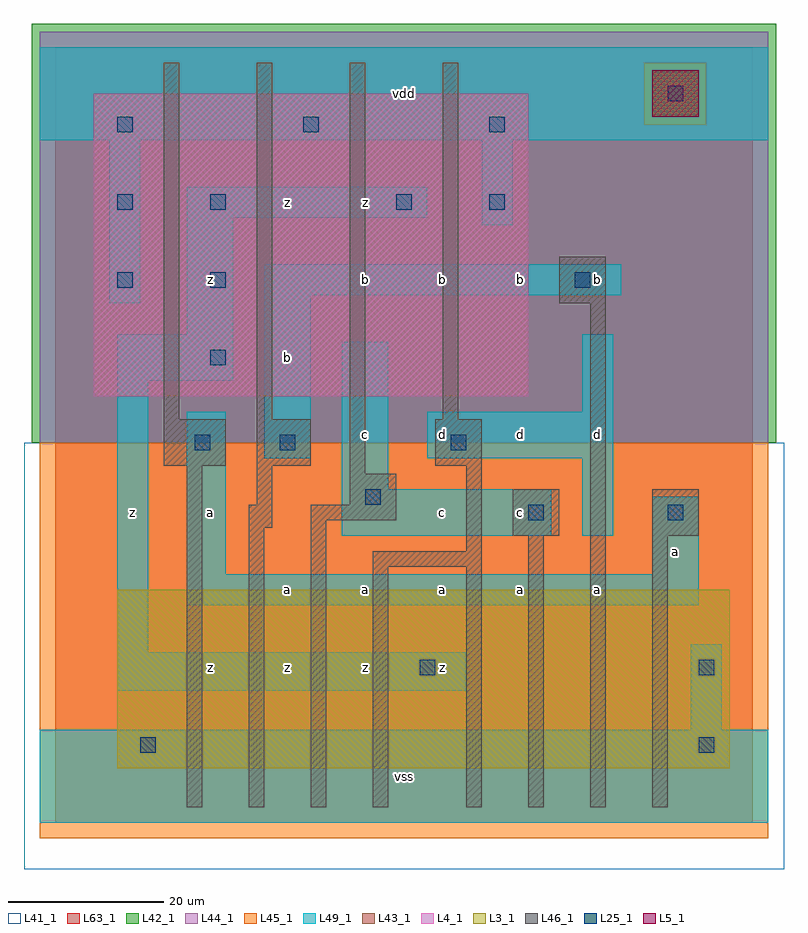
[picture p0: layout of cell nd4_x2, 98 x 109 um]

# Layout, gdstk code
import gdstk
lib = gdstk.Library(unit=1e-6, precision=1e-09)
def R(c, l, rs):  # rectangles x0, y0, x1, y1
    for r in rs: c.add(gdstk.rectangle(r[:2], r[2:], *l))
def A(c, l, x, y, w, h, nx, ny, dx, dy):  # array of equal rectangles
    R(c, l, [(x+i*dx, y+j*dy, x+i*dx+w, y+j*dy+h) for i in range(nx) for j in range(ny)])
L3_1 = (3, 1)
L4_1 = (4, 1)
L5_1 = (5, 1)
L25_1 = (25, 1)
L41_1 = (41, 1)
L42_1 = (42, 1)
L43_1 = (43, 1)
L44_1 = (44, 1)
L45_1 = (45, 1)
L46_1 = (46, 1)
L49_1 = (49, 1)
L63_1 = (63, 1)

nd4_x2 = lib.new_cell('nd4_x2')
R(nd4_x2, L3_1, [(8,7,87,30)])
R(nd4_x2, L4_1, [(5,55,61,94)])
R(nd4_x2, L5_1, [(77,91,83,97)])
A(nd4_x2, L25_1, 20, 59, 2, 2, 1, 3, 0, 10)
A(nd4_x2, L25_1, 8, 89, 2, 2, 3, 1, 24, 0)
R(nd4_x2, L25_1, [(11,9,13,11), (83,9,85,11), (47,19,49,21), (83,19,85,21), (61,39,63,41), (79,39,81,41), (40,41,42,43), (18,48,20,50), (29,48,31,50), (51,48,53,50), (8,69,10,71), (67,69,69,71), (8,79,10,81), (44,79,46,81), (56,79,58,81), (79,93,81,95)])
R(nd4_x2, L41_1, [(-4,-6,94,49), (-3,-3,93,49)])
R(nd4_x2, L42_1, [(-3,49,93,103)])
R(nd4_x2, L43_1, [(8,7,87,30), (5,55,61,94), (77,91,83,97)])
R(nd4_x2, L44_1, [(-2,49,92,90), (-2,90,76,98), (84,90,92,98), (-2,98,92,102)])
R(nd4_x2, L45_1, [(-2,-2,92,49), (76,90,84,98)])
R(nd4_x2, L46_1, [(17,2,19,46), (25,2,27,38), (33,2,35,39), (41,2,43,33), (53,2,55,33), (61,2,63,37), (69,2,71,67), (77,2,79,37), (41,33,55,35), (53,35,55,46), (59,37,65,43), (77,37,83,43), (25,38,28,41), (33,39,44,41), (26,41,28,46), (38,41,44,45), (38,45,40,98), (14,46,22,52), (26,46,33,52), (49,46,55,52), (14,52,16,98), (26,52,28,98), (50,52,52,98), (65,67,71,73)])
R(nd4_x2, L49_1, [(-2,0,92,12), (82,12,86,23), (8,17,53,22), (8,22,12,57), (17,28,83,32), (17,32,22,53), (77,32,83,42), (37,37,64,43), (68,37,72,47), (37,43,43,62), (27,47,33,68), (48,47,72,53), (68,53,72,63), (8,57,23,63), (17,63,23,78), (7,67,11,88), (27,68,73,72), (55,77,59,88), (17,78,48,82), (-2,88,92,100)])
R(nd4_x2, L63_1, [(0,0,90,100)])
nd4_x2.add(gdstk.Label('z', (10,40), layer=49, texttype=1))
nd4_x2.add(gdstk.Label('z', (10,40), layer=49, texttype=1))
nd4_x2.add(gdstk.Label('z', (30,20), layer=49, texttype=1))
nd4_x2.add(gdstk.Label('z', (30,20), layer=49, texttype=1))
nd4_x2.add(gdstk.Label('z', (20,20), layer=49, texttype=1))
nd4_x2.add(gdstk.Label('z', (20,20), layer=49, texttype=1))
nd4_x2.add(gdstk.Label('a', (30,30), layer=49, texttype=1))
nd4_x2.add(gdstk.Label('a', (30,30), layer=49, texttype=1))
nd4_x2.add(gdstk.Label('a', (20,40), layer=49, texttype=1))
nd4_x2.add(gdstk.Label('a', (20,40), layer=49, texttype=1))
nd4_x2.add(gdstk.Label('b', (30,60), layer=49, texttype=1))
nd4_x2.add(gdstk.Label('b', (30,60), layer=49, texttype=1))
nd4_x2.add(gdstk.Label('z', (20,70), layer=49, texttype=1))
nd4_x2.add(gdstk.Label('z', (20,70), layer=49, texttype=1))
nd4_x2.add(gdstk.Label('z', (30,80), layer=49, texttype=1))
nd4_x2.add(gdstk.Label('z', (30,80), layer=49, texttype=1))
nd4_x2.add(gdstk.Label('vss', (45,6), layer=49, texttype=1))
nd4_x2.add(gdstk.Label('vss', (45,6), layer=49, texttype=1))
nd4_x2.add(gdstk.Label('z', (40,20), layer=49, texttype=1))
nd4_x2.add(gdstk.Label('z', (50,20), layer=49, texttype=1))
nd4_x2.add(gdstk.Label('z', (40,20), layer=49, texttype=1))
nd4_x2.add(gdstk.Label('z', (50,20), layer=49, texttype=1))
nd4_x2.add(gdstk.Label('a', (50,30), layer=49, texttype=1))
nd4_x2.add(gdstk.Label('a', (40,30), layer=49, texttype=1))
nd4_x2.add(gdstk.Label('a', (40,30), layer=49, texttype=1))
nd4_x2.add(gdstk.Label('a', (50,30), layer=49, texttype=1))
nd4_x2.add(gdstk.Label('c', (50,40), layer=49, texttype=1))
nd4_x2.add(gdstk.Label('c', (50,40), layer=49, texttype=1))
nd4_x2.add(gdstk.Label('d', (50,50), layer=49, texttype=1))
nd4_x2.add(gdstk.Label('c', (40,50), layer=49, texttype=1))
nd4_x2.add(gdstk.Label('c', (40,50), layer=49, texttype=1))
nd4_x2.add(gdstk.Label('d', (50,50), layer=49, texttype=1))
nd4_x2.add(gdstk.Label('b', (50,70), layer=49, texttype=1))
nd4_x2.add(gdstk.Label('b', (40,70), layer=49, texttype=1))
nd4_x2.add(gdstk.Label('b', (50,70), layer=49, texttype=1))
nd4_x2.add(gdstk.Label('b', (40,70), layer=49, texttype=1))
nd4_x2.add(gdstk.Label('z', (40,80), layer=49, texttype=1))
nd4_x2.add(gdstk.Label('z', (40,80), layer=49, texttype=1))
nd4_x2.add(gdstk.Label('vdd', (45,94), layer=49, texttype=1))
nd4_x2.add(gdstk.Label('vdd', (45,94), layer=49, texttype=1))
nd4_x2.add(gdstk.Label('a', (70,30), layer=49, texttype=1))
nd4_x2.add(gdstk.Label('a', (60,30), layer=49, texttype=1))
nd4_x2.add(gdstk.Label('a', (60,30), layer=49, texttype=1))
nd4_x2.add(gdstk.Label('a', (70,30), layer=49, texttype=1))
nd4_x2.add(gdstk.Label('c', (60,40), layer=49, texttype=1))
nd4_x2.add(gdstk.Label('c', (60,40), layer=49, texttype=1))
nd4_x2.add(gdstk.Label('d', (70,50), layer=49, texttype=1))
nd4_x2.add(gdstk.Label('d', (60,50), layer=49, texttype=1))
nd4_x2.add(gdstk.Label('d', (70,50), layer=49, texttype=1))
nd4_x2.add(gdstk.Label('d', (60,50), layer=49, texttype=1))
nd4_x2.add(gdstk.Label('b', (70,70), layer=49, texttype=1))
nd4_x2.add(gdstk.Label('b', (60,70), layer=49, texttype=1))
nd4_x2.add(gdstk.Label('b', (70,70), layer=49, texttype=1))
nd4_x2.add(gdstk.Label('b', (60,70), layer=49, texttype=1))
nd4_x2.add(gdstk.Label('a', (80,35), layer=49, texttype=1))
nd4_x2.add(gdstk.Label('a', (80,35), layer=49, texttype=1))

lib.write_gds('nd4_x2.gds')
